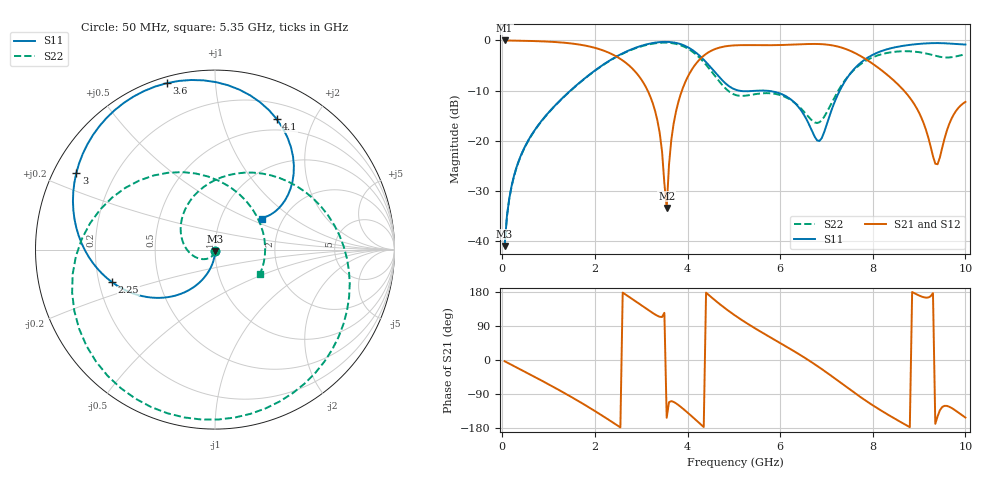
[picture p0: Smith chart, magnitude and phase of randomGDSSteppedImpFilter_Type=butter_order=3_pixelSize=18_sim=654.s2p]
! freq	dB(S11)	phase(S11)	dB(S12)	phase(S12)
!  dB(S21)	phase(S21)	dB(S22)	phase(S22)
!S-par simulation data
#  GHz  S  DB  R 50
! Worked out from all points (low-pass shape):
!   200 points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, 50 MHz to 10 GHz, reference 50 ohm
!   highest |S21| = -0.01 dB at 50 MHz (marker M1); lowest = -33.4 dB at 3.55 GHz (marker M2)
!   |S21| within 3 dB of the highest: start of sweep to 2.424 GHz; 4.355 GHz to 7.715 GHz (3.36 GHz wide, 55.7 % of centre)
!   lowest |S11| = -41.0 dB at 50 MHz (marker M3), VSWR 1.02, Z = 50 - j0.89 ohm
!   |S11| at or under -10 dB: start of sweep to 1.473 GHz; 5.099 GHz to 7.288 GHz (2.189 GHz wide, 35.3 % of centre)
!   |S22| runs from -41.1 to -0.4 dB; largest |S21 - S12| = 0
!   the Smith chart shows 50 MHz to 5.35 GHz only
!   S11 on the Smith chart (normalised r, x): 50 MHz: 1.00, -0.02; 2.25 GHz: 0.25, -0.14; 3 GHz: 0.07, +0.26; 3.6 GHz: 0.03, +0.75; 4.1 GHz: 0.36, +1.51; 5.35 GHz: 1.58, +0.59
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0.05  -41.01 -88.9  -0.01 -3.2  -0.01 -3.2  -41.06 -93.4
0.2  -29.08 -94.1  -0.03 -12.7  -0.03 -12.7  -29.16 -110.8
0.45  -21.94 -100.3  -0.07 -28.6  -0.07 -28.6  -22.03 -137.7
1.15  -12.88 -118.0  -0.32 -74.2  -0.32 -74.2  -12.93 148.0
1.75  -7.80 -138.7  -0.96 -116.1  -0.96 -116.1  -7.85 84.6
2.25  -4.41 -162.5  -2.25 -154.0  -2.25 -154.0  -4.47 32.4
3  -1.08 151.1  -7.77 144.7  -7.77 144.7  -1.19 -45.6
3.4  -0.33 121.9  -18.53 114.0  -18.53 114.0  -0.47 -89.0
3.55  -0.29 110.2  -33.41 -152.5  -33.41 -152.5  -0.45 -106.2
3.6  -0.31 106.1  -24.78 -111.3  -24.78 -111.3  -0.48 -112.1
3.75  -0.49 93.8  -14.23 -114.2  -14.23 -114.2  -0.69 -130.4
4.1  -1.88 64.8  -5.71 -149.5  -5.71 -149.5  -2.20 -177.3
4.5  -5.36 38.8  -2.12 167.1  -2.12 167.1  -5.99 121.3
5.05  -9.87 33.8  -0.97 115.5  -0.97 115.5  -10.93 19.2
5.35  -10.12 32.8  -0.93 91.6  -0.93 91.6  -10.90 -28.8
6.7  -18.33 -77.5  -0.70 -7.5  -0.70 -7.5  -16.07 -105.1
7.45  -7.44 106.4  -1.83 -72.9  -1.83 -72.9  -7.35 -83.5
8.35  -1.66 31.0  -7.16 -145.8  -7.16 -145.8  -2.43 -153.4
8.85  -0.83 2.1  -12.08 179.4  -12.08 179.4  -2.20 156.8
9.3  -0.54 -20.2  -23.10 176.4  -23.10 176.4  -2.94 86.5
9.65  -0.62 -35.7  -16.70 -123.2  -16.70 -123.2  -3.40 5.5
10  -0.82 -48.9  -12.27 -151.9  -12.27 -151.9  -2.76 -67.8
